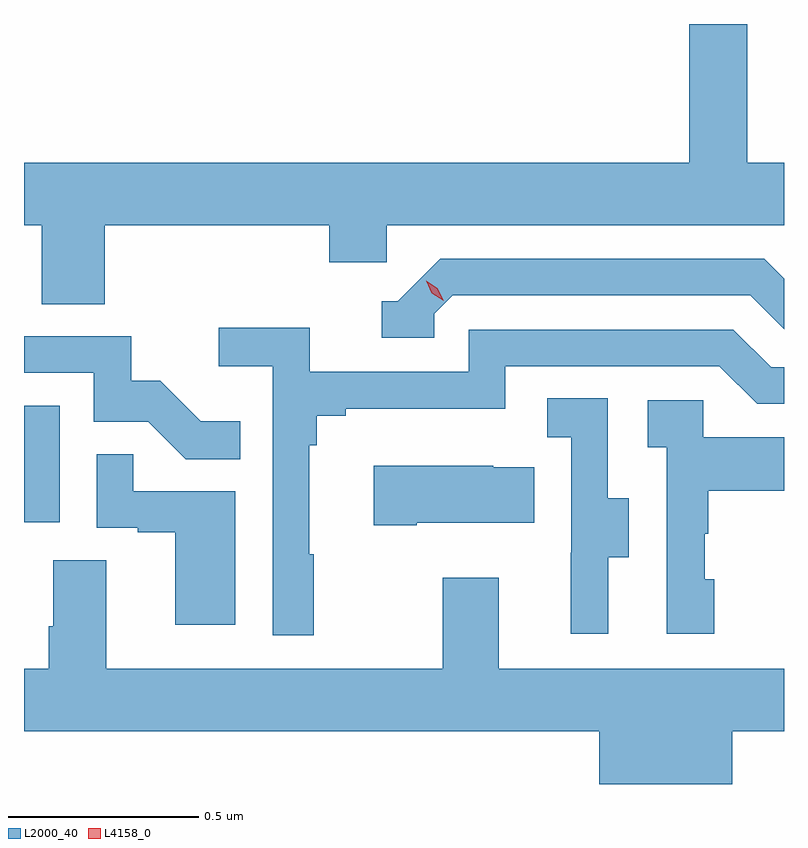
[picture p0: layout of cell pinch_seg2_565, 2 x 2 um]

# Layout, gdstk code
import gdstk
lib = gdstk.Library(unit=1e-6, precision=1e-09)
def R(c, l, rs):  # rectangles x0, y0, x1, y1
    for r in rs: c.add(gdstk.rectangle(r[:2], r[2:], *l))
def P(c, l, *ps):  # polygons
    for p in ps: c.add(gdstk.Polygon(p, *l))
L2000_40 = (2000, 40)
L4158_0 = (4158, 0)

pinch_seg2_565 = lib.new_cell('pinch_seg2_565')
R(pinch_seg2_565, L2000_40, [(1097.568,622.878,1097.662,623.185)])
P(pinch_seg2_565, L2000_40, [(1097.78,623.66),(1098.371,623.66),(1098.371,623.562),(1098.522,623.562),(1098.522,623.66),(1099.568,623.66),(1099.568,623.824),(1099.471,623.824),(1099.471,624.189),(1099.319,624.189),(1099.319,623.824),(1097.568,623.824),(1097.568,623.66),(1097.615,623.66),(1097.615,623.452),(1097.78,623.452)],
  [(1098.648,623.427),(1098.696,623.475),(1099.479,623.475),(1099.568,623.386),(1099.568,623.519),(1099.516,623.571),(1098.663,623.571),(1098.552,623.46),(1098.509,623.46),(1098.509,623.364),(1098.648,623.364)],
  [(1098.331,622.793),(1098.319,622.793),(1098.319,623.081),(1098.338,623.081),(1098.338,623.158),(1098.415,623.158),(1098.415,623.177),(1098.834,623.177),(1098.834,623.289),(1099.398,623.289),(1099.497,623.19),(1099.568,623.19),(1099.568,623.286),(1099.534,623.286),(1099.435,623.385),(1098.738,623.385),(1098.738,623.274),(1098.32,623.274),(1098.32,623.39),(1098.081,623.39),(1098.081,623.288),(1098.222,623.288),(1098.222,622.581),(1098.331,622.581)],
  [(1098.137,623.143),(1098.033,623.143),(1097.926,623.25),(1097.85,623.25),(1097.85,623.367),(1097.568,623.367),(1097.568,623.271),(1097.751,623.271),(1097.751,623.142),(1097.895,623.142),(1097.993,623.044),(1098.137,623.044)],
  [(1099.105,622.786),(1099.159,622.786),(1099.159,622.941),(1099.104,622.941),(1099.104,623.204),(1098.945,623.204),(1098.945,623.101),(1099.008,623.101),(1099.008,622.797),(1099.007,622.797),(1099.007,622.584),(1099.105,622.584)],
  [(1099.384,622.728),(1099.359,622.728),(1099.359,622.847),(1099.369,622.847),(1099.369,622.961),(1099.568,622.961),(1099.568,623.101),(1099.356,623.101),(1099.356,623.199),(1099.209,623.199),(1099.209,623.075),(1099.26,623.075),(1099.26,622.584),(1099.384,622.584)],
  [(1098.124,622.959),(1097.855,622.959),(1097.855,623.057),(1097.76,623.057),(1097.76,622.863),(1097.867,622.863),(1097.867,622.851),(1097.966,622.851),(1097.966,622.608),(1098.124,622.608)],
  [(1098.601,622.877),(1098.911,622.877),(1098.911,623.023),(1098.803,623.023),(1098.803,623.026),(1098.489,623.026),(1098.489,622.87),(1098.601,622.87)],
  [(1099.432,622.328),(1099.568,622.328),(1099.568,622.492),(1098.817,622.492),(1098.817,622.732),(1098.67,622.732),(1098.67,622.492),(1097.785,622.492),(1097.785,622.778),(1097.645,622.778),(1097.645,622.604),(1097.633,622.604),(1097.633,622.492),(1097.568,622.492),(1097.568,622.328),(1099.082,622.328),(1099.082,622.189),(1099.432,622.189)])
P(pinch_seg2_565, L4158_0, [(1098.672,623.461),(1098.641,623.481),(1098.626,623.514),(1098.626,623.514),(1098.626,623.514),(1098.656,623.494),(1098.672,623.461),(1098.672,623.461)])

lib.write_gds('pinch_seg2_565.gds')
